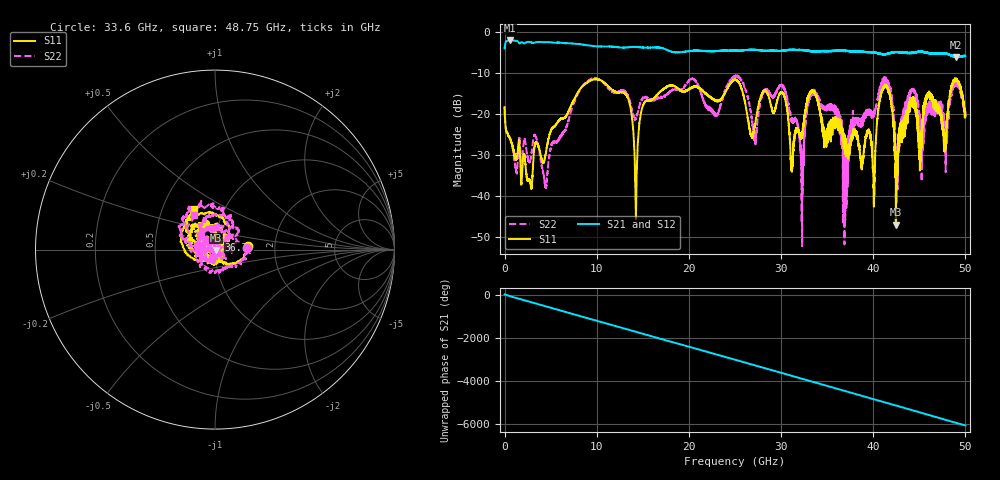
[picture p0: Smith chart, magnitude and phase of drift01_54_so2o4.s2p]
!Created with skrf (http://scikit-rf.org).
# Hz S RI R 50.0
!freq ReS11 ImS11 ReS21 ImS21 ReS12 ImS12 ReS22 ImS22
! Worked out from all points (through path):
!   10001 points, 300 kHz to 50 GHz, reference 50 ohm
!   highest |S21| = -2.00 dB at 570.3 MHz (marker M1); lowest = -6.1 dB at 48.98 GHz (marker M2)
!   group delay of S21, straight-line fit = 336 ps
!   lowest |S11| = -47.0 dB at 42.46 GHz (marker M3), VSWR 1.01, Z = 50.4 - j0.163 ohm
!   |S11| at or under -10 dB: start of sweep to end of sweep
!   |S22| runs from -52.3 to -10.6 dB; largest |S21 - S12| = 0.02
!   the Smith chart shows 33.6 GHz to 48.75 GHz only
!   S11 on the Smith chart (normalised r, x): 33.6 GHz: 1.45, +0.07; 36.73 GHz: 1.04, +0.12; 48.75 GHz: 0.72, +0.35
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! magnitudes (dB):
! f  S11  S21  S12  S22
! 300 kHz  -18.4  -4.0  -4.1  -18.0
! 570.3 MHz  -26.0  -2.0  -2.0  -26.0
! 4.445 GHz  -29.8  -2.4  -2.4  -37.4
! 8.335 GHz  -13.5  -3.0  -3.0  -13.5
! 13.16 GHz  -15.2  -3.7  -3.7  -14.6
! 14.25 GHz  -45.6  -3.6  -3.6  -21.1
! 16.67 GHz  -14.9  -3.7  -3.7  -15.9
! 25 GHz  -11.6  -4.5  -4.5  -10.9
! 27.15 GHz  -22.6  -4.3  -4.3  -25.9
! 30.2 GHz  -15.0  -4.5  -4.5  -13.3
! 31.15 GHz  -33.9  -4.3  -4.3  -21.0
! 32.25 GHz  -25.1  -4.3  -4.3  -39.4
! 33.34 GHz  -14.2  -4.6  -4.6  -14.7
! 33.6 GHz  -14.6  -4.7  -4.7  -14.9
! 36.73 GHz  -24.4  -4.4  -4.5  -28.7
! 40.06 GHz  -42.0  -4.9  -4.9  -20.2
! 41.67 GHz  -14.1  -5.1  -5.2  -13.0
! 42.46 GHz  -47.0  -4.8  -4.8  -31.5
! 47.75 GHz  -28.6  -5.2  -5.2  -27.3
! 48.75 GHz  -11.9  -5.9  -5.8  -13.0
! 48.98 GHz  -11.6  -6.1  -6.0  -12.8
! 50 GHz  -20.3  -5.8  -5.8  -19.4
